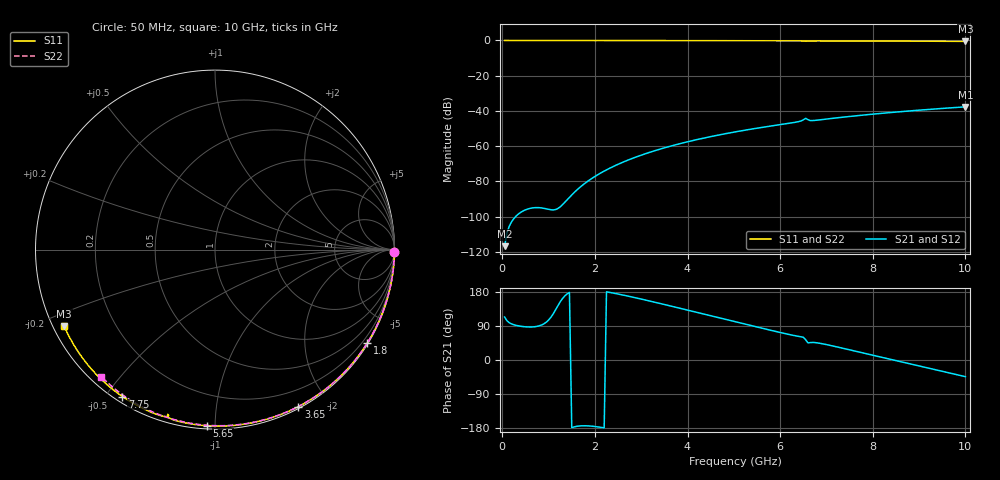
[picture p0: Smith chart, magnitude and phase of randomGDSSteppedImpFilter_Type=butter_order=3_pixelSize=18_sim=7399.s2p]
! freq	dB(S11)	phase(S11)	dB(S12)	phase(S12)
!  dB(S21)	phase(S21)	dB(S22)	phase(S22)
!S-par simulation data
#  GHz  S  DB  R 50
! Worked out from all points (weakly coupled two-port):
!   200 points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, 50 MHz to 10 GHz, reference 50 ohm
!   highest |S21| = -37.67 dB at 10 GHz (marker M1); lowest = -116.7 dB at 50 MHz (marker M2)
!   lowest |S11| = -0.5 dB at 10 GHz (marker M3), VSWR 33.57, Z = 1.57 - j11.9 ohm
!   |S11| at or under -10 dB: nowhere
!   |S22| runs from -0.4 to 0.0 dB; largest |S21 - S12| = 0
!   S11 on the Smith chart (normalised r, x): 50 MHz: open; 1.8 GHz: 0.03, -3.55; 3.65 GHz: 0.02, -1.66; 5.65 GHz: 0.02, -0.95; 7.75 GHz: 0.02, -0.55; 10 GHz: 0.03, -0.24
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0.05  -0.00 -0.9  -116.72 113.4  -116.72 113.4  -0.00 -0.8
0.9  -0.02 -15.9  -95.24 95.6  -95.24 95.6  -0.02 -13.6
1.75  -0.04 -30.6  -81.75 -173.5  -81.75 -173.5  -0.03 -26.3
1.8  -0.04 -31.4  -80.74 -173.6  -80.74 -173.6  -0.03 -27.0
1.85  -0.04 -32.3  -79.79 -173.8  -79.79 -173.8  -0.04 -27.7
2.15  -0.05 -37.4  -74.83 -178.0  -74.83 -178.0  -0.04 -32.1
2.55  -0.06 -44.1  -69.67 172.9  -69.67 172.9  -0.05 -37.9
2.95  -0.07 -50.7  -65.54 162.2  -65.54 162.2  -0.06 -43.6
3.4  -0.08 -58.0  -61.70 149.4  -61.70 149.4  -0.07 -50.0
3.65  -0.08 -62.0  -59.84 142.1  -59.84 142.1  -0.07 -53.5
4.3  -0.10 -72.3  -55.68 122.8  -55.68 122.8  -0.09 -62.4
5.05  -0.13 -83.7  -51.78 100.4  -51.78 100.4  -0.11 -72.3
5.65  -0.15 -92.6  -49.15 82.7  -49.15 82.7  -0.13 -80.1
6.4  -0.21 -103.8  -46.04 62.4  -46.04 62.4  -0.16 -89.5
6.5  -0.27 -105.6  -45.05 60.1  -45.05 60.1  -0.17 -90.8
6.55  -0.41 -106.1  -44.18 53.6  -44.18 53.6  -0.17 -91.4
6.65  -0.27 -106.3  -45.48 45.9  -45.48 45.9  -0.18 -92.6
6.7  -0.24 -107.2  -45.47 46.3  -45.47 46.3  -0.18 -93.2
7.75  -0.29 -122.2  -42.45 19.8  -42.45 19.8  -0.24 -105.9
8.35  -0.34 -130.4  -40.97 2.7  -40.97 2.7  -0.29 -112.9
9.2  -0.42 -142.1  -39.14 -21.4  -39.14 -21.4  -0.36 -122.7
10  -0.52 -153.2  -37.67 -44.0  -37.67 -44.0  -0.45 -131.8
